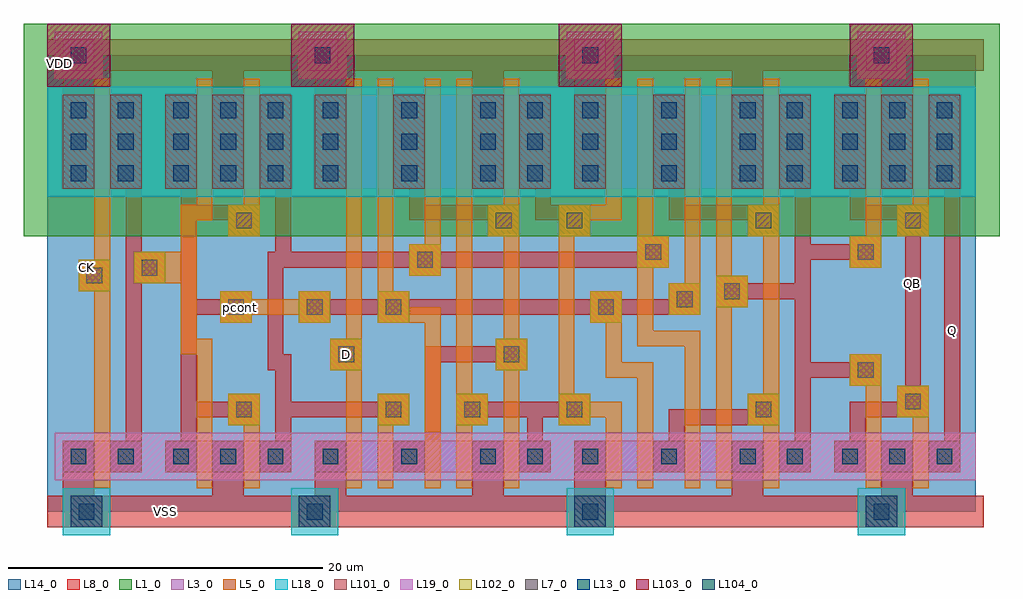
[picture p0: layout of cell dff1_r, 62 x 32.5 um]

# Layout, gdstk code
import gdstk
lib = gdstk.Library(unit=1e-6, precision=1e-09)
def R(c, l, rs):  # rectangles x0, y0, x1, y1
    for r in rs: c.add(gdstk.rectangle(r[:2], r[2:], *l))
L1_0 = (1, 0)
L3_0 = (3, 0)
L5_0 = (5, 0)
L7_0 = (7, 0)
L8_0 = (8, 0)
L13_0 = (13, 0)
L14_0 = (14, 0)
L18_0 = (18, 0)
L19_0 = (19, 0)
L101_0 = (101, 0)
L102_0 = (102, 0)
L103_0 = (103, 0)
L104_0 = (104, 0)

dcont = lib.new_cell('dcont')
R(dcont, L3_0, [(-1,-1,1,1)])
R(dcont, L7_0, [(-0.5,-0.5,0.5,0.5)])
R(dcont, L8_0, [(-1,-1,1,1)])
R(dcont, L13_0, [(-0.5,-0.5,0.5,0.5)])
R(dcont, L101_0, [(-1,-1,1,1)])
dcont.add(gdstk.Label('dcont', (0,0), layer=13, texttype=0))

psubcont = lib.new_cell('psubcont')
R(psubcont, L18_0, [(-1.5,-1.5,1.5,1.5)])
R(psubcont, L104_0, [(-1,-1,1,1)])
psubcont.add(gdstk.Reference(dcont, (0,0)))
psubcont.add(gdstk.Label('PScon', (0,0), layer=13, texttype=0))

nsubcont = lib.new_cell('nsubcont')
R(nsubcont, L1_0, [(-2,-2,2,2)])
R(nsubcont, L19_0, [(-1.5,-1.5,1.5,1.5)])
R(nsubcont, L103_0, [(-2,-2,2,2)])
nsubcont.add(gdstk.Reference(dcont, (0,0)))
nsubcont.add(gdstk.Label('NScont', (0,0), layer=13, texttype=0))

pcont = lib.new_cell('pcont')
R(pcont, L5_0, [(-1,-1,1,1)])
R(pcont, L7_0, [(-0.5,-0.5,0.5,0.5)])
R(pcont, L8_0, [(-1,-1,1,1)])
R(pcont, L102_0, [(-1,-1,1,1)])
pcont.add(gdstk.Label('pcont', (0,0), layer=13, texttype=0))

dff1_r = lib.new_cell('dff1_r')
R(dff1_r, L1_0, [(-1.5,17.5,8.3,31), (5.8,17.5,60.5,31)])
R(dff1_r, L3_0, [(1,2.5,6,4.5), (7.5,2.5,15.5,4.5), (17,2.5,32,4.5), (33.5,2.5,48.5,4.5), (50,2.5,58,4.5), (1,20.5,6,26.5), (7.5,20.5,15.5,26.5), (17,20.5,32,26.5), (33.5,20.5,48.5,26.5), (50,20.5,58,26.5)])
R(dff1_r, L5_0, [(7.5,14.5,9.5,16.5)])
R(dff1_r, L8_0, [(0,-1,59.5,1), (1,-1,3,4.5), (10.5,-1,12.5,4.5), (17,-1,19,4.5), (27,-1,29,4.5), (33.5,-1,35.5,4.5), (43.5,-1,45.5,4.5), (53,-1,55,4.5), (22,2.5,25,4.5), (24,2.5,25,10.5), (5,4.5,6,20.5), (8.5,4.5,9.5,20.5), (14.5,4.5,15.5,10), (30.5,4.5,31.5,6), (39.5,4.5,40.5,6.5), (47.5,4.5,48.5,20.5), (51,4.5,52,6), (57,4.5,58,20.5), (40.5,5.5,44.5,6.5), (9.5,6,11.5,7), (15.5,6,21,7), (28,6,32.5,7), (51,6,54,7), (54.5,8,55.5,17.5), (48.5,8.5,51,9.5), (14,9,15,15.5), (18,9,20,11), (25,9.5,28.5,10.5), (9.5,12.5,11,13.5), (18,12.5,21,13.5), (23,12.5,34.5,13.5), (36.5,12.5,39.5,13.5), (44.5,13.5,47.5,14.5), (2,14,4,16), (14,15.5,23,16.5), (25,15.5,37.5,16.5), (48.5,16,51,17), (14.5,16.5,15.5,20.5), (9.5,18.5,11.5,19.5), (23,18.5,28,19.5), (31,18.5,32,20.5), (32,18.5,32.5,19.5), (39.5,18.5,40.5,20.5), (40.5,18.5,44.5,19.5), (51,18.5,52,20.5), (52,18.5,54,19.5), (23,19.5,24,20.5), (1,20.5,3,30), (10.5,20.5,12.5,30), (17,20.5,19,30), (27,20.5,29,30), (33.5,20.5,35.5,30), (43.5,20.5,45.5,30), (53,20.5,55,30), (0,28,59.5,30)])
R(dff1_r, L14_0, [(0,0,59,29)])
R(dff1_r, L18_0, [(0,20,7,27), (7,20,59,27)])
R(dff1_r, L19_0, [(0.5,2,7,5), (7,2,59,5)])
dff1_r.add(gdstk.FlexPath([(55.5,27),(55.5,18.9)], 1, ends="extended", simple_path=True, layer=5, datatype=0))  # L5_0
dff1_r.add(gdstk.FlexPath([(55.5,2),(55.5,6.7)], 1, ends="extended", simple_path=True, layer=5, datatype=0))  # L5_0
dff1_r.add(gdstk.FlexPath([(52.5,27),(52.5,17.2)], 1, ends="extended", simple_path=True, layer=5, datatype=0))  # L5_0
dff1_r.add(gdstk.FlexPath([(52.5,2),(52.5,9)], 1, ends="extended", simple_path=True, layer=5, datatype=0))  # L5_0
dff1_r.add(gdstk.FlexPath([(46,27),(46,2)], 1, ends="extended", simple_path=True, layer=5, datatype=0))  # L5_0
dff1_r.add(gdstk.FlexPath([(43,27),(43,2)], 1, ends="extended", simple_path=True, layer=5, datatype=0))  # L5_0
dff1_r.add(gdstk.FlexPath([(41,27),(41,13.5)], 1, ends="extended", simple_path=True, layer=5, datatype=0))  # L5_0
dff1_r.add(gdstk.FlexPath([(38,27),(38,11),(41,11),(41,2)], 1, ends="extended", simple_path=True, layer=5, datatype=0))  # L5_0
dff1_r.add(gdstk.FlexPath([(38,2),(38,9),(36,9),(36,13)], 1, ends="extended", simple_path=True, layer=5, datatype=0))  # L5_0
dff1_r.add(gdstk.FlexPath([(36,27),(36,19),(33,19),(33,6.5),(36,6.5),(36,2)], 1, ends="extended", simple_path=True, layer=5, datatype=0))  # L5_0
dff1_r.add(gdstk.FlexPath([(29.5,27),(29.5,2)], 1, ends="extended", simple_path=True, layer=5, datatype=0))  # L5_0
dff1_r.add(gdstk.FlexPath([(26.5,27),(26.5,2)], 1, ends="extended", simple_path=True, layer=5, datatype=0))  # L5_0
dff1_r.add(gdstk.FlexPath([(24.5,27),(24.5,16)], 1, ends="extended", simple_path=True, layer=5, datatype=0))  # L5_0
dff1_r.add(gdstk.FlexPath([(21.5,27),(21.5,12.5),(24.5,12.5),(24.5,2)], 1, ends="extended", simple_path=True, layer=5, datatype=0))  # L5_0
dff1_r.add(gdstk.FlexPath([(21.5,2),(21.5,6.4)], 1, ends="extended", simple_path=True, layer=5, datatype=0))  # L5_0
dff1_r.add(gdstk.FlexPath([(19.5,2),(19.5,27)], 1, ends="extended", simple_path=True, layer=5, datatype=0))  # L5_0
dff1_r.add(gdstk.FlexPath([(12,13),(17,13)], 1, ends="extended", simple_path=True, layer=5, datatype=0))  # L5_0
dff1_r.add(gdstk.FlexPath([(13,18.6),(13,27)], 1, ends="extended", simple_path=True, layer=5, datatype=0))  # L5_0
dff1_r.add(gdstk.FlexPath([(13,2),(13,6.8)], 1, ends="extended", simple_path=True, layer=5, datatype=0))  # L5_0
dff1_r.add(gdstk.FlexPath([(10,27),(10,19),(9,19),(9,10.5),(10,10.5),(10,2)], 1, ends="extended", simple_path=True, layer=5, datatype=0))  # L5_0
dff1_r.add(gdstk.FlexPath([(3.5,27),(3.5,2)], 1, ends="extended", simple_path=True, layer=5, datatype=0))  # L5_0
dff1_r.add(gdstk.Reference(dcont, (5,23.5)))
dff1_r.add(gdstk.Reference(dcont, (2,25.5)))
dff1_r.add(gdstk.Reference(dcont, (5,25.5)))
dff1_r.add(gdstk.Reference(psubcont, (2.5,0)))
dff1_r.add(gdstk.Reference(dcont, (2,23.5)))
dff1_r.add(gdstk.Reference(dcont, (2,3.5)))
dff1_r.add(gdstk.Reference(dcont, (5,3.5)))
dff1_r.add(gdstk.Reference(dcont, (2,21.5)))
dff1_r.add(gdstk.Reference(nsubcont, (2,29)))
dff1_r.add(gdstk.Reference(dcont, (5,21.5)))
dff1_r.add(gdstk.Reference(pcont, (3,15)))
dff1_r.add(gdstk.Reference(dcont, (54,3.5)))
dff1_r.add(gdstk.Reference(dcont, (14.5,25.5)))
dff1_r.add(gdstk.Reference(nsubcont, (34.5,29)))
dff1_r.add(gdstk.Reference(pcont, (55,7)))
dff1_r.add(gdstk.Reference(dcont, (39.5,3.5)))
dff1_r.add(gdstk.Reference(dcont, (14.5,23.5)))
dff1_r.add(gdstk.Reference(dcont, (23,25.5)))
dff1_r.add(gdstk.Reference(dcont, (14.5,3.5)))
dff1_r.add(gdstk.Reference(pcont, (40.5,13.5)))
dff1_r.add(gdstk.Reference(pcont, (45.5,18.5)))
dff1_r.add(gdstk.Reference(pcont, (29.5,10)))
dff1_r.add(gdstk.Reference(dcont, (51,21.5)))
dff1_r.add(gdstk.Reference(psubcont, (17,0)))
dff1_r.add(gdstk.Reference(pcont, (12.5,18.5)))
dff1_r.add(gdstk.Reference(dcont, (34.5,25.5)))
dff1_r.add(gdstk.Reference(pcont, (22,13)))
dff1_r.add(gdstk.Reference(dcont, (18,23.5)))
dff1_r.add(gdstk.Reference(pcont, (45.5,6.5)))
dff1_r.add(gdstk.Reference(dcont, (23,23.5)))
dff1_r.add(gdstk.Reference(dcont, (54,25.5)))
dff1_r.add(gdstk.Reference(pcont, (27,6.5)))
dff1_r.add(gdstk.Reference(dcont, (39.5,25.5)))
dff1_r.add(gdstk.Reference(dcont, (34.5,21.5)))
dff1_r.add(gdstk.Reference(dcont, (44.5,25.5)))
dff1_r.add(gdstk.Reference(dcont, (28,23.5)))
dff1_r.add(gdstk.Reference(dcont, (11.5,23.5)))
dff1_r.add(gdstk.Reference(dcont, (8.5,3.5)))
dff1_r.add(gdstk.Reference(dcont, (28,21.5)))
dff1_r.add(gdstk.Reference(dcont, (23,3.5)))
dff1_r.add(gdstk.Reference(dcont, (28,3.5)))
dff1_r.add(gdstk.Reference(dcont, (44.5,3.5)))
dff1_r.add(gdstk.Reference(dcont, (11.5,3.5)))
dff1_r.add(gdstk.Reference(pcont, (22,6.5)))
dff1_r.add(gdstk.Reference(pcont, (43.5,14)))
dff1_r.add(gdstk.Reference(dcont, (14.5,21.5)))
dff1_r.add(gdstk.Reference(dcont, (34.5,23.5)))
dff1_r.add(gdstk.Reference(pcont, (33.5,6.5)))
dff1_r.add(gdstk.Reference(dcont, (51,23.5)))
dff1_r.add(gdstk.Reference(dcont, (34.5,3.5)))
dff1_r.add(gdstk.Reference(dcont, (47.5,23.5)))
dff1_r.add(gdstk.Reference(dcont, (31,21.5)))
dff1_r.add(gdstk.Reference(dcont, (39.5,21.5)))
dff1_r.add(gdstk.Reference(pcont, (24,16)))
dff1_r.add(gdstk.Reference(dcont, (44.5,21.5)))
dff1_r.add(gdstk.Reference(dcont, (18,3.5)))
dff1_r.add(gdstk.Reference(dcont, (18,25.5)))
dff1_r.add(gdstk.Reference(dcont, (57,25.5)))
dff1_r.add(gdstk.Reference(pcont, (29,18.5)))
dff1_r.add(gdstk.Reference(dcont, (57,21.5)))
dff1_r.add(gdstk.Reference(dcont, (28,25.5)))
dff1_r.add(gdstk.Reference(nsubcont, (17.5,29)))
dff1_r.add(gdstk.Reference(dcont, (23,21.5)))
dff1_r.add(gdstk.Reference(pcont, (38.5,16.5)))
dff1_r.add(gdstk.Reference(pcont, (52,9)))
dff1_r.add(gdstk.Reference(pcont, (17,13)))
dff1_r.add(gdstk.Reference(dcont, (31,3.5)))
dff1_r.add(gdstk.Reference(dcont, (18,21.5)))
dff1_r.add(gdstk.Reference(psubcont, (34.5,0)))
dff1_r.add(gdstk.Reference(dcont, (31,25.5)))
dff1_r.add(gdstk.Reference(pcont, (52,16.5)))
dff1_r.add(gdstk.Reference(pcont, (19,10)))
dff1_r.add(gdstk.Reference(dcont, (8.5,21.5)))
dff1_r.add(gdstk.Reference(dcont, (51,3.5)))
dff1_r.add(gdstk.Reference(dcont, (11.5,25.5)))
dff1_r.add(gdstk.Reference(dcont, (57,3.5)))
dff1_r.add(gdstk.Reference(dcont, (54,23.5)))
dff1_r.add(gdstk.Reference(pcont, (35.5,13)))
dff1_r.add(gdstk.Reference(dcont, (47.5,21.5)))
dff1_r.add(gdstk.Reference(dcont, (51,25.5)))
dff1_r.add(gdstk.Reference(dcont, (39.5,23.5)))
dff1_r.add(gdstk.Reference(dcont, (54,21.5)))
dff1_r.add(gdstk.Reference(dcont, (44.5,23.5)))
dff1_r.add(gdstk.Reference(psubcont, (53,0)))
dff1_r.add(gdstk.Reference(dcont, (31,23.5)))
dff1_r.add(gdstk.Reference(dcont, (8.5,23.5)))
dff1_r.add(gdstk.Reference(dcont, (57,23.5)))
dff1_r.add(gdstk.Reference(pcont, (12,13)))
dff1_r.add(gdstk.Reference(dcont, (11.5,21.5)))
dff1_r.add(gdstk.Reference(pcont, (55,18.5)))
dff1_r.add(gdstk.Reference(dcont, (47.5,3.5)))
dff1_r.add(gdstk.Reference(pcont, (33.5,18.5)))
dff1_r.add(gdstk.Reference(nsubcont, (53,29)))
dff1_r.add(gdstk.Reference(dcont, (8.5,25.5)))
dff1_r.add(gdstk.Reference(pcont, (12.5,6.5)))
dff1_r.add(gdstk.Reference(dcont, (47.5,25.5)))
dff1_r.add(gdstk.Reference(pcont, (6.5,15.5)))
dff1_r.add(gdstk.Label('VSS', (7.5,0), layer=8, texttype=0))
dff1_r.add(gdstk.Label('VDD', (0.8,28.5), layer=8, texttype=0))
dff1_r.add(gdstk.Label('QB', (55,14.5), layer=8, texttype=0))
dff1_r.add(gdstk.Label('CK', (2.5,15.5), layer=10, texttype=0))
dff1_r.add(gdstk.Label('D', (19,10), layer=10, texttype=0))
dff1_r.add(gdstk.Label('Q', (57.5,11.5), layer=10, texttype=0))
dff1_r.add(gdstk.Label('A', (2,16), layer=10, texttype=0))
dff1_r.add(gdstk.Label('via', (57.5,11.5), layer=13, texttype=0))
dff1_r.add(gdstk.Label('via', (19,10), layer=13, texttype=0))
dff1_r.add(gdstk.Label('via', (19,10), layer=13, texttype=0))
dff1_r.add(gdstk.Label('pcont', (12.3,13), layer=13, texttype=0))
dff1_r.add(gdstk.Label('via', (2.5,15.5), layer=13, texttype=0))

lib.write_gds('dff1_r.gds')
